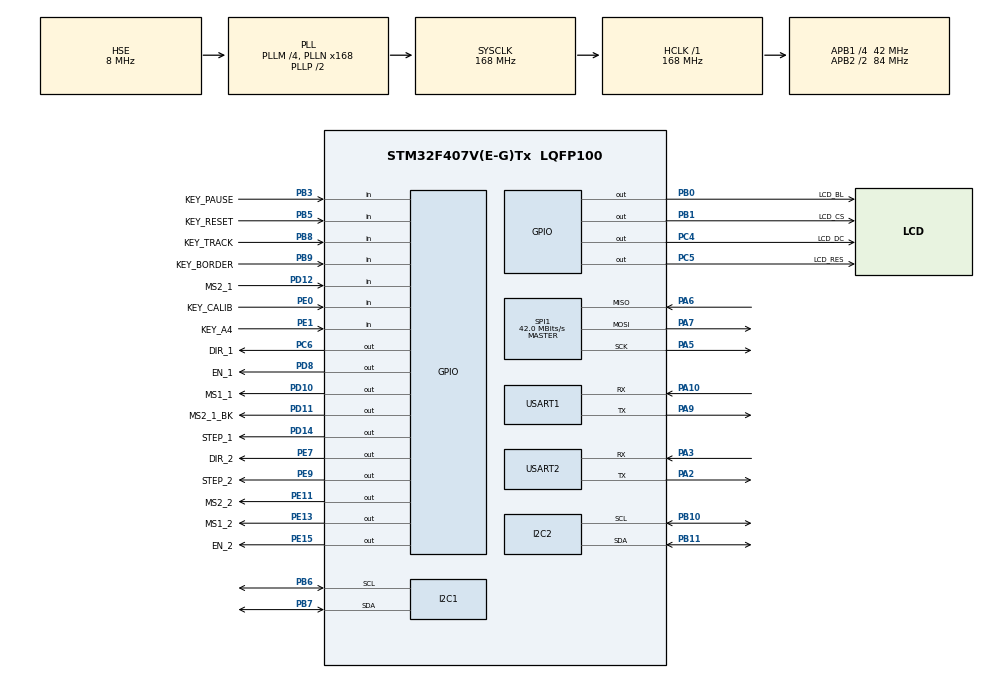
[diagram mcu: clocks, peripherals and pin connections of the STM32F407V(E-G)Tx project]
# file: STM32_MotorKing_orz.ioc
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Dma.Request0=USART1_RX
Dma.Request1=USART1_TX
Dma.Request2=USART2_RX
Dma.Request3=USART2_TX
Dma.USART1_RX.0.Direction=DMA_PERIPH_TO_MEMORY
Dma.USART1_RX.0.FIFOMode=DMA_FIFOMODE_DISABLE
Dma.USART1_RX.0.Instance=DMA2_Stream2
Dma.USART1_RX.0.MemDataAlignment=DMA_MDATAALIGN_BYTE
Dma.USART1_RX.0.MemInc=DMA_MINC_ENABLE
Dma.USART1_RX.0.Mode=DMA_CIRCULAR
Dma.USART1_RX.0.PeriphDataAlignment=DMA_PDATAALIGN_BYTE
Dma.USART1_RX.0.PeriphInc=DMA_PINC_DISABLE
Dma.USART1_RX.0.Priority=DMA_PRIORITY_LOW
Dma.USART1_TX.1.Direction=DMA_MEMORY_TO_PERIPH
Dma.USART1_TX.1.FIFOMode=DMA_FIFOMODE_DISABLE
Dma.USART1_TX.1.Instance=DMA2_Stream7
Dma.USART1_TX.1.MemDataAlignment=DMA_MDATAALIGN_BYTE
Dma.USART1_TX.1.MemInc=DMA_MINC_ENABLE
Dma.USART1_TX.1.Mode=DMA_NORMAL
Dma.USART1_TX.1.PeriphDataAlignment=DMA_PDATAALIGN_BYTE
Dma.USART1_TX.1.PeriphInc=DMA_PINC_DISABLE
Dma.USART1_TX.1.Priority=DMA_PRIORITY_LOW
Dma.USART2_RX.2.Direction=DMA_PERIPH_TO_MEMORY
Dma.USART2_RX.2.FIFOMode=DMA_FIFOMODE_DISABLE
Dma.USART2_RX.2.Instance=DMA1_Stream5
Dma.USART2_RX.2.MemDataAlignment=DMA_MDATAALIGN_BYTE
Dma.USART2_RX.2.MemInc=DMA_MINC_ENABLE
Dma.USART2_RX.2.Mode=DMA_CIRCULAR
Dma.USART2_RX.2.PeriphDataAlignment=DMA_PDATAALIGN_BYTE
Dma.USART2_RX.2.PeriphInc=DMA_PINC_DISABLE
Dma.USART2_RX.2.Priority=DMA_PRIORITY_LOW
Dma.USART2_TX.3.Direction=DMA_MEMORY_TO_PERIPH
Dma.USART2_TX.3.FIFOMode=DMA_FIFOMODE_DISABLE
Dma.USART2_TX.3.Instance=DMA1_Stream6
Dma.USART2_TX.3.MemDataAlignment=DMA_MDATAALIGN_BYTE
Dma.USART2_TX.3.MemInc=DMA_MINC_ENABLE
Dma.USART2_TX.3.Mode=DMA_NORMAL
Dma.USART2_TX.3.PeriphDataAlignment=DMA_PDATAALIGN_BYTE
Dma.USART2_TX.3.PeriphInc=DMA_PINC_DISABLE
Dma.USART2_TX.3.Priority=DMA_PRIORITY_LOW
I2C1.I2C_Mode=I2C_Fast
I2C2.I2C_Mode=I2C_Fast
Mcu.Family=STM32F4
Mcu.Name=STM32F407V(E-G)Tx
Mcu.Package=LQFP100
NVIC.DMA1_Stream5_IRQn=true\:0\:0\:false\:false\:true\:false\:true\:true
NVIC.DMA1_Stream6_IRQn=true\:0\:0\:false\:false\:true\:false\:true\:true
NVIC.DMA2_Stream2_IRQn=true\:0\:0\:false\:false\:true\:false\:true\:true
NVIC.DMA2_Stream7_IRQn=true\:0\:0\:false\:false\:true\:false\:true\:true
NVIC.I2C1_ER_IRQn=true\:0\:0\:false\:false\:true\:true\:true\:true
NVIC.I2C1_EV_IRQn=true\:0\:0\:false\:false\:true\:true\:true\:true
NVIC.I2C2_ER_IRQn=true\:0\:0\:false\:false\:true\:true\:true\:true
NVIC.I2C2_EV_IRQn=true\:0\:0\:false\:false\:true\:true\:true\:true
NVIC.PriorityGroup=NVIC_PRIORITYGROUP_4
NVIC.TIM8_TRG_COM_TIM14_IRQn=true\:0\:0\:false\:false\:true\:true\:true\:true
NVIC.TIM8_UP_TIM13_IRQn=true\:0\:0\:false\:false\:true\:true\:true\:true
NVIC.USART1_IRQn=true\:0\:0\:false\:false\:true\:true\:true\:true
NVIC.USART2_IRQn=true\:0\:0\:false\:false\:true\:false\:true\:true
PA10.Mode=Asynchronous
PA10.Signal=USART1_RX
PA13.Mode=Serial_Wire
PA13.Signal=SYS_JTMS-SWDIO
PA14.Mode=Serial_Wire
PA14.Signal=SYS_JTCK-SWCLK
PA2.Mode=Asynchronous
PA2.Signal=USART2_TX
PA3.Mode=Asynchronous
PA3.Signal=USART2_RX
PA5.Mode=Full_Duplex_Master
PA5.Signal=SPI1_SCK
PA6.Mode=Full_Duplex_Master
PA6.Signal=SPI1_MISO
PA7.Mode=Full_Duplex_Master
PA7.Signal=SPI1_MOSI
PA9.Mode=Asynchronous
PA9.Signal=USART1_TX
PB0.GPIO_Label=LCD_BL
PB0.Signal=GPIO_Output
PB1.GPIO_Label=LCD_CS
PB1.Signal=GPIO_Output
PB10.Mode=I2C
PB10.Signal=I2C2_SCL
PB11.Mode=I2C
PB11.Signal=I2C2_SDA
PB3.GPIO_Label=KEY_PAUSE
PB3.GPIO_PuPd=GPIO_PULLUP
PB3.Signal=GPIO_Input
PB5.GPIO_Label=KEY_RESET
PB5.GPIO_PuPd=GPIO_PULLUP
PB5.Signal=GPIO_Input
PB6.Mode=I2C
PB6.Signal=I2C1_SCL
PB7.Mode=I2C
PB7.Signal=I2C1_SDA
PB8.GPIO_Label=KEY_TRACK
PB8.GPIO_PuPd=GPIO_PULLUP
PB8.Signal=GPIO_Input
PB9.GPIO_Label=KEY_BORDER
PB9.GPIO_PuPd=GPIO_PULLUP
PB9.Signal=GPIO_Input
PC4.GPIO_Label=LCD_DC
PC4.Signal=GPIO_Output
PC5.GPIO_Label=LCD_RES
PC5.Signal=GPIO_Output
PC6.GPIO_Label=DIR_1
PC6.Signal=GPIO_Output
PD10.GPIO_Label=MS1_1
PD10.Signal=GPIO_Output
PD11.GPIO_Label=MS2_1_BK
PD11.Signal=GPIO_Output
PD12.GPIO_Label=MS2_1
PD12.GPIO_PuPd=GPIO_PULLDOWN
PD12.Signal=GPIO_Input
PD14.GPIO_Label=STEP_1
PD14.Signal=GPIO_Output
PD8.GPIO_Label=EN_1
PD8.Signal=GPIO_Output
PE0.GPIO_Label=KEY_CALIB
PE0.GPIO_PuPd=GPIO_PULLUP
PE0.Signal=GPIO_Input
PE1.GPIO_Label=KEY_A4
PE1.GPIO_PuPd=GPIO_PULLUP
PE1.Signal=GPIO_Input
PE11.GPIO_Label=MS2_2
PE11.Signal=GPIO_Output
PE13.GPIO_Label=MS1_2
PE13.Signal=GPIO_Output
PE15.GPIO_Label=EN_2
PE15.Signal=GPIO_Output
PE7.GPIO_Label=DIR_2
PE7.Signal=GPIO_Output
PE9.GPIO_Label=STEP_2
PE9.Signal=GPIO_Output
PH0-OSC_IN.Mode=HSE-External-Oscillator
PH0-OSC_IN.Signal=RCC_OSC_IN
PH1-OSC_OUT.Mode=HSE-External-Oscillator
PH1-OSC_OUT.Signal=RCC_OSC_OUT
ProjectManager.HeapSize=0x200
ProjectManager.StackSize=0x400
ProjectManager.TargetToolchain=CMake
RCC.48MHZClocksFreq_Value=84000000
RCC.AHBFreq_Value=168000000
RCC.APB1CLKDivider=RCC_HCLK_DIV4
RCC.APB1Freq_Value=42000000
RCC.APB1TimFreq_Value=84000000
RCC.APB2CLKDivider=RCC_HCLK_DIV2
RCC.APB2Freq_Value=84000000
RCC.APB2TimFreq_Value=168000000
RCC.CortexFreq_Value=168000000
RCC.HCLKFreq_Value=168000000
RCC.HSE_VALUE=8000000
RCC.HSI_VALUE=16000000
RCC.LSE_VALUE=32768
RCC.PLLM=4
RCC.PLLN=168
RCC.PLLSourceVirtual=RCC_PLLSOURCE_HSE
RCC.SYSCLKFreq_VALUE=168000000
RCC.SYSCLKSource=RCC_SYSCLKSOURCE_PLLCLK
RCC.VCOOutputFreq_Value=336000000
SPI1.CalculateBaudRate=42.0 MBits/s
SPI1.Direction=SPI_DIRECTION_2LINES
SPI1.Mode=SPI_MODE_MASTER
SPI1.VirtualType=VM_MASTER
TIM13.Channel=TIM_CHANNEL_1
TIM14.Channel=TIM_CHANNEL_1
USART1.VirtualMode=VM_ASYNC
USART2.VirtualMode=VM_ASYNC
VP_TIM13_VS_ClockSourceINT.Mode=Enable_Timer
VP_TIM13_VS_no_output1.Mode=Output Compare1 No Output
VP_TIM14_VS_ClockSourceINT.Mode=Enable_Timer
VP_TIM14_VS_no_output1.Mode=Output Compare1 No Output
board=custom

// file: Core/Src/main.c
/* USER CODE BEGIN Header */
/**
  ******************************************************************************
  * @file           : main.c
  * @brief          : Main program body
  ******************************************************************************
  * @attention
  *
  * Copyright (c) 2026 STMicroelectronics.
  * All rights reserved.
  *
  * This software is licensed under terms that can be found in the LICENSE file
  * in the root directory of this software component.
  * If no LICENSE file comes with this software, it is provided AS-IS.
  *
  ******************************************************************************
  */
/* USER CODE END Header */
#include "main.h"

/* USER CODE BEGIN Includes */
#include "usart.h"
#include "mt6701.h"
#include "tmc2209.h"
#include "motor_pid.h"
#include "motor_stepper.h"
#include "uart.h"
#include "axis.h"
#include "safety.h"
#include "motion.h"
#include "target_source.h"
#include "gimbal_points.h"
#include "calib.h"
#include "q12.h"
#include "pause.h"
#include "app_boot_interface.h"
#include <string.h>
#include <stdio.h>
/* Phase 4-8 (暂时注释, 后续按流水线解锁):
#include "communication.h"
#include "tracking_manager.h"
#include "app.h"
#include "telemetry.h"
*/
/* USER CODE END Includes */

I2C_HandleTypeDef hi2c1;
I2C_HandleTypeDef hi2c2;

SPI_HandleTypeDef hspi1;

TIM_HandleTypeDef htim13;
TIM_HandleTypeDef htim14;

UART_HandleTypeDef huart1;
UART_HandleTypeDef huart2;
DMA_HandleTypeDef hdma_usart1_rx;
DMA_HandleTypeDef hdma_usart1_tx;
DMA_HandleTypeDef hdma_usart2_rx;
DMA_HandleTypeDef hdma_usart2_tx;

/* USER CODE BEGIN PV */

/* 电机1 = Tilt (竖直轴, TIM14 + I2C1 + EN_1/DIR_1/STEP_1/MS1_1/MS2_1) */
static MT6701_HandleTypeDef enc_tilt;
static TMC2209_HandleTypeDef motor_tilt;
MotorStepper stepper_tilt;      /* 全局: stm32f4xx_it.c 中断分发需要 */
static MotorPID pid_tilt;

/* 电机2 = Pan (水平轴, TIM13 + I2C2 + EN_2/DIR_2/STEP_2/MS1_2/MS2_2) */
static MT6701_HandleTypeDef enc_pan;
static TMC2209_HandleTypeDef motor_pan;
MotorStepper stepper_pan;       /* 全局: stm32f4xx_it.c 中断分发需要 */
static MotorPID pid_pan;

/* 串口库设备: USART1 调试口, USART2 摄像头 */
static UART_Device uart_dbg, uart_cam;

/* 单轴抽象: 统一封装 PID/驱动/编码器/步进引擎 (Pan/Tilt 共用同一结构) */
static Axis axis_tilt;
static Axis axis_pan;

/* 安全管理器 */
static SafetyConfig safety_cfg;

/* 运动管理器 */
static MotionConfig motion_cfg;

/* 标定流程 (KEY_CALIB) */
static CalibConfig calib_cfg;

/* Q1/Q2 序列 (KEY_RESET / KEY_BORDER) */
static Q12Config q12_cfg;

/* 暂停/继续 (KEY_PAUSE) */
static PauseConfig pause_cfg;

/* Phase 4-8 (暂时注释):
static TrackingConfig tracking_cfg;
static AppConfig app_cfg;
static uint32_t telemetry_tick;
*/

/* 调试命令 (Phase 3 验收驱动): go <pan> <tilt> / stop / swing <amp> */
static UART_Frame  dbg_cmd_frame;
static uint8_t     dbg_cmd_buf[32];
static uint16_t    dbg_cmd_len;
static char        dbg_last_cmd[33];   /* 诊断: 最近完整命令 */

/* 摆动测试状态: 以启动时的位置为原点, 小幅摆动 ±amp 度 (仅 Tilt) */
static uint8_t  swing_active;
static float    swing_amp;
static float    swing_tilt_origin;
static int      swing_dir;         /* +1 / -1 */
static uint32_t swing_next_ms;
static uint32_t swing_period_ms;   /* 每个方向停留时间 */

/* 开环走圈测试状态 (spin): MoveSteps 走 1 圈, 周期采样编码器角度, 验证回正 */
static uint8_t  spin_active;
static float    spin_start_angle;
static float    spin_last_angle;
static uint32_t spin_t0;
static uint32_t spin_sample_next;

/* USER CODE END PV */

void SystemClock_Config(void);
static void MX_GPIO_Init(void);
static void MX_DMA_Init(void);
static void MX_I2C1_Init(void);
static void MX_USART1_UART_Init(void);
static void MX_USART2_UART_Init(void);
static void MX_I2C2_Init(void);
static void MX_SPI1_Init(void);
static void MX_TIM13_Init(void);
static void MX_TIM14_Init(void);
/* USER CODE BEGIN PFP */
static void DbgCmd_OnByte(UART_Device *dev, uint8_t *data, uint16_t len);
static void DbgCmd_SwingUpdate(uint32_t now_ms);
static void DbgCmd_SpinUpdate(uint32_t now_ms);
static float DbgCmd_ParseFloat(const char *s, char **end);
static const char *DbgCmd_Token(const char *s, int idx);
static MotorPID *DbgCmd_Axis(const char *s);
/* USER CODE END PFP */

/* USER CODE BEGIN 0 */

/* TIM 中断处理由 stm32f4xx_it.c 生成区接管 (CubeMX 已勾选 NVIC):
   TIM14 → stepper_tilt, TIM13 → stepper_pan, 分发见 stm32f4xx_it.c USER CODE 区 */

/* USER CODE END 0 */

int main(void)
{

  /* USER CODE BEGIN 1 */
  SCB->VTOR = 0x08000000U;   /* 直烧模式: 向量表在 Flash 头部 (无 BL) */
  /* USER CODE END 1 */

  /* MCU Configuration--------------------------------------------------------*/

  /* Reset of all peripherals, Initializes the Flash interface and the Systick. */
  HAL_Init();

  /* Configure the system clock */
  SystemClock_Config();

  /* Initialize all configured peripherals */
  MX_GPIO_Init();
  MX_DMA_Init();
  MX_I2C1_Init();
  MX_USART1_UART_Init();
  MX_USART2_UART_Init();
  MX_I2C2_Init();
  MX_SPI1_Init();
  MX_TIM13_Init();
  MX_TIM14_Init();
  /* USER CODE BEGIN 2 */

  /* MT6701 编码器 (I2C1/I2C2, 400kHz) */
  if (MT6701_Init(&enc_tilt, &hi2c1) != 0) {
    /* 电机1 编码器未应答 */
  }
  if (MT6701_Init(&enc_pan, &hi2c2) != 0) {
    /* 电机2 编码器未应答 */
  }

  /* TMC2209 驱动板 (GPIO 由 MX_GPIO_Init 配置) */
  TMC2209_Init(&motor_tilt, &(TMC2209_PinConfig){
      .en   = {EN_1_GPIO_Port,   EN_1_Pin},
      .step = {STEP_1_GPIO_Port, STEP_1_Pin},
      .dir  = {DIR_1_GPIO_Port,  DIR_1_Pin},
      .ms1  = {MS1_1_GPIO_Port,  MS1_1_Pin},
      .ms2  = {MS2_1_GPIO_Port,  MS2_1_Pin},
  });
  TMC2209_Init(&motor_pan, &(TMC2209_PinConfig){
      .en   = {EN_2_GPIO_Port,   EN_2_Pin},
      .step = {STEP_2_GPIO_Port, STEP_2_Pin},
      .dir  = {DIR_2_GPIO_Port,  DIR_2_Pin},
      .ms1  = {MS1_2_GPIO_Port,  MS1_2_Pin},
      .ms2  = {MS2_2_GPIO_Port,  MS2_2_Pin},
  });

  /* STEP 脉冲引擎: Tilt→TIM14, Pan→TIM13 */
  MotorStepper_Init(&stepper_tilt, &motor_tilt, &htim14);
  MotorStepper_Init(&stepper_pan,  &motor_pan,  &htim13);

  /* 位置闭环 PID (默认 1/32 细分标定) */
  MotorPID_Init(&pid_tilt);
  MotorPID_Init(&pid_pan);
  /* Pan(X) 实测整定: gains 350/30/0, 限速 7200/36000 (~405°/s) */
  MotorPID_SetGains(&pid_pan, 350.0f, 30.0f, 0.0f);
  MotorPID_SetSpeedLimit(&pid_pan, 7200.0f, 36000.0f);

  /* 串口库: USART1 调试口 + USART2 摄像头 (RX DMA 需为 Circular) */
  UART_Init(&uart_dbg, &huart1);
  UART_Init(&uart_cam, &huart2);
  UART_Open(&uart_dbg);
  UART_Open(&uart_cam);

  /* 通信管理器: 摄像头视觉帧解析 → VisionTarget (Phase 4, 暂时注释)
  Communication_Init(&uart_cam); */

  /* 单轴抽象: 包装 编码器 + PID + 步进引擎 + 驱动 (双轴使能, 内环闭环经 Axis 编排,
     方向符号统一由 Axis 层 dir_sign 补偿) */
  Axis_Init(&axis_tilt, &pid_tilt, &motor_tilt, &enc_tilt, &stepper_tilt);
  Axis_Init(&axis_pan,  &pid_pan,  &motor_pan,  &enc_pan,  &stepper_pan);

  /* 启动时目标 = 当前位置 (避免 PID 全速追默认 0° 导致乱转) */
  Axis_SetTarget(&axis_tilt, MT6701_ReadDegrees(&enc_tilt));
  Axis_SetTarget(&axis_pan,  MT6701_ReadDegrees(&enc_pan));

  /* 限位: 编码器绝对角度 0-360°, 先用全范围避免误触发 (物理行程限位后按机械标定) */
  Axis_SetLimits(&axis_tilt, 0.0f, 360.0f);
  Axis_SetLimits(&axis_pan,  0.0f, 360.0f);

  Axis_Enable(&axis_tilt);
  Axis_Enable(&axis_pan);

  /* 使能双轴 PID, 目标 = 当前位置 (Axis_Update 首帧也会兜底使能) */
  MotorPID_SetTarget(&pid_tilt, MT6701_ReadDegrees(&enc_tilt));
  MotorPID_SetTarget(&pid_pan,  MT6701_ReadDegrees(&enc_pan));

  /* 安全: 绑定轴 (按键暂停改由 Pause 模块处理: 制动+恢复) */
  safety_cfg.pan = &axis_pan;
  safety_cfg.tilt = &axis_tilt;
  safety_cfg.enable_key_pause = false;
  Safety_Init(&safety_cfg);

  /* 运动: 绑定 Pan/Tilt 轴 + 角度限位 (编码器坐标 0-360, 物理行程标定后收紧) */
  motion_cfg.pan = &axis_pan;
  motion_cfg.tilt = &axis_tilt;
  motion_cfg.pan_min  = 0.0f;
  motion_cfg.pan_max  = 360.0f;
  motion_cfg.tilt_min = 0.0f;
  motion_cfg.tilt_max = 360.0f;
  Motion_Init(&motion_cfg);

  /* 数据源注册 (仅注册, 不激活):
     direct = Q1/Q2 电机角度直接闭环; vision = Q3 视觉外环
     (vision 只有激活时才注册摄像头帧, 故此处 USART2 保持空闲) */
  TargetSource_VisionBind(&uart_cam);
  TargetSource_Init();

  /* Q1/Q2 标定点 (O/左上/右上/右下/左下), 初值清零 */
  GimbalPoints_Init();

  /* 标定流程: 绑定两轴 + 编码器 (按 CALIB 先释放电机, 手动摆点逐点记录) */
  calib_cfg.pan      = &axis_pan;
  calib_cfg.tilt     = &axis_tilt;
  calib_cfg.enc_pan  = &enc_pan;
  calib_cfg.enc_tilt = &enc_tilt;
  calib_cfg.uart     = &uart_dbg;
  Calib_Init(&calib_cfg);

  /* Q1/Q2 序列: RST 回 O, BORDER 左上起顺时针一圈回 O */
  q12_cfg.pan              = &axis_pan;
  q12_cfg.tilt             = &axis_tilt;
  q12_cfg.uart             = &uart_dbg;
  q12_cfg.settle_ms        = 150u;    /* 到位后稳定 150ms 再推进 */
  q12_cfg.point_timeout_ms = 6000u;   /* 单点超时 (顺时针一圈 30s 内) */
  Q12_Init(&q12_cfg);

  /* 暂停/继续: KEY_PAUSE 立即制动, 再按恢复 */
  pause_cfg.uart = &uart_dbg;
  Pause_Init(&pause_cfg);

  /* 调试命令 (Phase 3 验收): go <pan> <tilt> / stop / swing <amp> */
  dbg_cmd_frame.header_len = 0;              /* 逐字节回调 */
  dbg_cmd_frame.max_len    = sizeof(dbg_cmd_buf);
  dbg_cmd_frame.get_length = NULL;
  dbg_cmd_frame.check      = NULL;
  dbg_cmd_frame.callback   = DbgCmd_OnByte;
  dbg_cmd_frame.timeout_ms = 0;
  dbg_cmd_len = 0;
  UART_RegisterFrame(&uart_dbg, &dbg_cmd_frame);

  /* 摆动测试初始关闭 */
  swing_active     = 0;
  swing_amp        = 5.0f;                   /* 默认 ±5° */
  swing_tilt_origin = 0.0f;
  swing_dir        = 1;
  swing_next_ms    = 0;
  swing_period_ms  = 1000;                   /* 每方向 1s */

  /* 开环走圈测试初始关闭 */
  spin_active      = 0;
  spin_start_angle = 0.0f;
  spin_last_angle  = 0.0f;
  spin_t0          = 0;
  spin_sample_next = 0;

  /* 上电自检标志: 验证 App 是否正常启动 (诊断用) */
  {
      static const uint8_t ready[] = "APP-READY\r\n";
      uint16_t w = 0;
      UART_Send(&uart_dbg, ready, sizeof(ready) - 1, &w);
  }

  /* USER CODE END 2 */

  /* Infinite loop */
  /* USER CODE BEGIN WHILE */
  while (1)
  {
    /* 串口帧解析/回调 (必须周期调用) */
    UART_Task(&uart_dbg);

    /* Phase 4-8 (暂时注释):
    Communication_Update(HAL_GetTick());
    {
        VisionTarget vt;
        if (Communication_PopVisionTarget(&vt)) {
            Tracking_SetVisionTarget(&vt);
        }
    }
    Tracking_Update(HAL_GetTick());
    App_Update(HAL_GetTick());
    {
        uint32_t now = HAL_GetTick();
        if ((now - telemetry_tick) >= 20) {
            telemetry_tick = now;
            Telemetry_Sample(now);
        }
    }
    */

    /* ── 位置闭环 5ms: 编码器 → MotorPID → MotorStepper (统一经 Axis 编排) ── */
    DbgCmd_SwingUpdate(HAL_GetTick());   /* 摆动目标经 Axis_SetTarget (Tilt 单轴) */
    DbgCmd_SpinUpdate(HAL_GetTick());    /* 开环走圈 (与 PID 互斥, 由命令控制) */

    /* spin 开环走圈期间暂停 Axis, 避免 MoveSteps 与 SetVelocity 冲突;
       Axis_Update 内部: 读编码器(含 0xFFFF 哨兵/磁检) → 限位 → MotorPID → 方向符号 → 步进 */
    if (!spin_active) {
        Axis_Update(&axis_tilt, 0.005f);
        Axis_Update(&axis_pan,  0.005f);
    } else {
        MT6701_ReadDegrees(&enc_tilt);   /* spin 期间 I2C 只读 */
    }

    /* KEY_CALIB 标定: 第1按释放电机, 之后逐点记录 O→左上→右上→右下→左下 */
    Calib_Update(HAL_GetTick());

    /* 暂停/继续 (KEY_PAUSE): 先于 Q12 处理, 立即制动 */
    Pause_Update(HAL_GetTick());

    /* Q1/Q2 序列: KEY_RESET 回 O / KEY_BORDER 顺时针绕边一圈 */
    Q12_Update(HAL_GetTick());

    /* 安全监控: 按键/轴故障/限位 (故障时阻止运动) */
    Safety_Update(HAL_GetTick());

    /* USER CODE END WHILE */

  }
}

void SystemClock_Config(void)
{
  RCC_OscInitTypeDef RCC_OscInitStruct = {0};
  RCC_ClkInitTypeDef RCC_ClkInitStruct = {0};

  /** Configure the main internal regulator output voltage
  */
  __HAL_RCC_PWR_CLK_ENABLE();
  __HAL_PWR_VOLTAGESCALING_CONFIG(PWR_REGULATOR_VOLTAGE_SCALE1);

  /** Initializes the RCC Oscillators according to the specified parameters
  * in the RCC_OscInitTypeDef structure.
  */
  RCC_OscInitStruct.OscillatorType = RCC_OSCILLATORTYPE_HSE;
  RCC_OscInitStruct.HSEState = RCC_HSE_ON;
  RCC_OscInitStruct.PLL.PLLState = RCC_PLL_ON;
  RCC_OscInitStruct.PLL.PLLSource = RCC_PLLSOURCE_HSE;
  RCC_OscInitStruct.PLL.PLLM = 4;
  RCC_OscInitStruct.PLL.PLLN = 168;
  RCC_OscInitStruct.PLL.PLLP = RCC_PLLP_DIV2;
  RCC_OscInitStruct.PLL.PLLQ = 4;
  if (HAL_RCC_OscConfig(&RCC_OscInitStruct) != HAL_OK)
  {
    Error_Handler();
  }

  /** Initializes the CPU, AHB and APB buses clocks
  */
  RCC_ClkInitStruct.ClockType = RCC_CLOCKTYPE_HCLK|RCC_CLOCKTYPE_SYSCLK
                              |RCC_CLOCKTYPE_PCLK1|RCC_CLOCKTYPE_PCLK2;
  RCC_ClkInitStruct.SYSCLKSource = RCC_SYSCLKSOURCE_PLLCLK;
  RCC_ClkInitStruct.AHBCLKDivider = RCC_SYSCLK_DIV1;
  RCC_ClkInitStruct.APB1CLKDivider = RCC_HCLK_DIV4;
  RCC_ClkInitStruct.APB2CLKDivider = RCC_HCLK_DIV2;

  if (HAL_RCC_ClockConfig(&RCC_ClkInitStruct, FLASH_LATENCY_5) != HAL_OK)
  {
    Error_Handler();
  }
}

static void MX_I2C1_Init(void)
{

  hi2c1.Instance = I2C1;
  hi2c1.Init.ClockSpeed = 400000;
  hi2c1.Init.DutyCycle = I2C_DUTYCYCLE_2;
  hi2c1.Init.OwnAddress1 = 0;
  hi2c1.Init.AddressingMode = I2C_ADDRESSINGMODE_7BIT;
  hi2c1.Init.DualAddressMode = I2C_DUALADDRESS_DISABLE;
  hi2c1.Init.OwnAddress2 = 0;
  hi2c1.Init.GeneralCallMode = I2C_GENERALCALL_DISABLE;
  hi2c1.Init.NoStretchMode = I2C_NOSTRETCH_DISABLE;
  if (HAL_I2C_Init(&hi2c1) != HAL_OK)
  {
    Error_Handler();
  }

}

static void MX_I2C2_Init(void)
{

  hi2c2.Instance = I2C2;
  hi2c2.Init.ClockSpeed = 400000;
  hi2c2.Init.DutyCycle = I2C_DUTYCYCLE_2;
  hi2c2.Init.OwnAddress1 = 0;
  hi2c2.Init.AddressingMode = I2C_ADDRESSINGMODE_7BIT;
  hi2c2.Init.DualAddressMode = I2C_DUALADDRESS_DISABLE;
  hi2c2.Init.OwnAddress2 = 0;
  hi2c2.Init.GeneralCallMode = I2C_GENERALCALL_DISABLE;
  hi2c2.Init.NoStretchMode = I2C_NOSTRETCH_DISABLE;
  if (HAL_I2C_Init(&hi2c2) != HAL_OK)
  {
    Error_Handler();
  }

}

static void MX_SPI1_Init(void)
{

  /* SPI1 parameter configuration*/
  hspi1.Instance = SPI1;
  hspi1.Init.Mode = SPI_MODE_MASTER;
  hspi1.Init.Direction = SPI_DIRECTION_2LINES;
  hspi1.Init.DataSize = SPI_DATASIZE_8BIT;
  hspi1.Init.CLKPolarity = SPI_POLARITY_LOW;
  hspi1.Init.CLKPhase = SPI_PHASE_1EDGE;
  hspi1.Init.NSS = SPI_NSS_SOFT;
  hspi1.Init.BaudRatePrescaler = SPI_BAUDRATEPRESCALER_2;
  hspi1.Init.FirstBit = SPI_FIRSTBIT_MSB;
  hspi1.Init.TIMode = SPI_TIMODE_DISABLE;
  hspi1.Init.CRCCalculation = SPI_CRCCALCULATION_DISABLE;
  hspi1.Init.CRCPolynomial = 10;
  if (HAL_SPI_Init(&hspi1) != HAL_OK)
  {
    Error_Handler();
  }

}

static void MX_TIM13_Init(void)
{

  TIM_OC_InitTypeDef sConfigOC = {0};

  htim13.Instance = TIM13;
  htim13.Init.Prescaler = 0;
  htim13.Init.CounterMode = TIM_COUNTERMODE_UP;
  htim13.Init.Period = 65535;
  htim13.Init.ClockDivision = TIM_CLOCKDIVISION_DIV1;
  htim13.Init.AutoReloadPreload = TIM_AUTORELOAD_PRELOAD_DISABLE;
  if (HAL_TIM_Base_Init(&htim13) != HAL_OK)
  {
    Error_Handler();
  }
  if (HAL_TIM_OC_Init(&htim13) != HAL_OK)
  {
    Error_Handler();
  }
  sConfigOC.OCMode = TIM_OCMODE_TIMING;
  sConfigOC.Pulse = 0;
  sConfigOC.OCPolarity = TIM_OCPOLARITY_HIGH;
  sConfigOC.OCFastMode = TIM_OCFAST_DISABLE;
  if (HAL_TIM_OC_ConfigChannel(&htim13, &sConfigOC, TIM_CHANNEL_1) != HAL_OK)
  {
    Error_Handler();
  }

}

static void MX_TIM14_Init(void)
{

  TIM_OC_InitTypeDef sConfigOC = {0};

  htim14.Instance = TIM14;
  htim14.Init.Prescaler = 0;
  htim14.Init.CounterMode = TIM_COUNTERMODE_UP;
  htim14.Init.Period = 65535;
  htim14.Init.ClockDivision = TIM_CLOCKDIVISION_DIV1;
  htim14.Init.AutoReloadPreload = TIM_AUTORELOAD_PRELOAD_DISABLE;
  if (HAL_TIM_Base_Init(&htim14) != HAL_OK)
  {
    Error_Handler();
  }
  if (HAL_TIM_OC_Init(&htim14) != HAL_OK)
  {
    Error_Handler();
  }
  sConfigOC.OCMode = TIM_OCMODE_TIMING;
  sConfigOC.Pulse = 0;
  sConfigOC.OCPolarity = TIM_OCPOLARITY_HIGH;
  sConfigOC.OCFastMode = TIM_OCFAST_DISABLE;
  if (HAL_TIM_OC_ConfigChannel(&htim14, &sConfigOC, TIM_CHANNEL_1) != HAL_OK)
  {
    Error_Handler();
  }

}

static void MX_USART1_UART_Init(void)
{

  huart1.Instance = USART1;
  huart1.Init.BaudRate = 115200;
  huart1.Init.WordLength = UART_WORDLENGTH_8B;
  huart1.Init.StopBits = UART_STOPBITS_1;
  huart1.Init.Parity = UART_PARITY_NONE;
  huart1.Init.Mode = UART_MODE_TX_RX;
  huart1.Init.HwFlowCtl = UART_HWCONTROL_NONE;
  huart1.Init.OverSampling = UART_OVERSAMPLING_16;
  if (HAL_UART_Init(&huart1) != HAL_OK)
  {
    Error_Handler();
  }

}

static void MX_USART2_UART_Init(void)
{

  huart2.Instance = USART2;
  huart2.Init.BaudRate = 115200;
  huart2.Init.WordLength = UART_WORDLENGTH_8B;
  huart2.Init.StopBits = UART_STOPBITS_1;
  huart2.Init.Parity = UART_PARITY_NONE;
  huart2.Init.Mode = UART_MODE_TX_RX;
  huart2.Init.HwFlowCtl = UART_HWCONTROL_NONE;
  huart2.Init.OverSampling = UART_OVERSAMPLING_16;
  if (HAL_UART_Init(&huart2) != HAL_OK)
  {
    Error_Handler();
  }

}

static void MX_DMA_Init(void)
{

  /* DMA controller clock enable */
  __HAL_RCC_DMA2_CLK_ENABLE();
  __HAL_RCC_DMA1_CLK_ENABLE();

  /* DMA interrupt init */
  /* DMA1_Stream5_IRQn interrupt configuration */
  HAL_NVIC_SetPriority(DMA1_Stream5_IRQn, 0, 0);
  HAL_NVIC_EnableIRQ(DMA1_Stream5_IRQn);
  /* DMA1_Stream6_IRQn interrupt configuration */
  HAL_NVIC_SetPriority(DMA1_Stream6_IRQn, 0, 0);
  HAL_NVIC_EnableIRQ(DMA1_Stream6_IRQn);
  /* DMA2_Stream2_IRQn interrupt configuration */
  HAL_NVIC_SetPriority(DMA2_Stream2_IRQn, 0, 0);
  HAL_NVIC_EnableIRQ(DMA2_Stream2_IRQn);
  /* DMA2_Stream7_IRQn interrupt configuration */
  HAL_NVIC_SetPriority(DMA2_Stream7_IRQn, 0, 0);
  HAL_NVIC_EnableIRQ(DMA2_Stream7_IRQn);

}

static void MX_GPIO_Init(void)
{
  GPIO_InitTypeDef GPIO_InitStruct = {0};

  /* GPIO Ports Clock Enable */
  __HAL_RCC_GPIOH_CLK_ENABLE();
  __HAL_RCC_GPIOA_CLK_ENABLE();
  __HAL_RCC_GPIOC_CLK_ENABLE();
  __HAL_RCC_GPIOB_CLK_ENABLE();
  __HAL_RCC_GPIOE_CLK_ENABLE();
  __HAL_RCC_GPIOD_CLK_ENABLE();

  /*Configure GPIO pin Output Level */
  HAL_GPIO_WritePin(GPIOC, LCD_DC_Pin|LCD_RES_Pin|DIR_1_Pin, GPIO_PIN_RESET);

  /*Configure GPIO pin Output Level */
  HAL_GPIO_WritePin(GPIOB, LCD_BL_Pin|LCD_CS_Pin, GPIO_PIN_RESET);

  /*Configure GPIO pin Output Level */
  HAL_GPIO_WritePin(GPIOE, DIR_2_Pin|STEP_2_Pin|MS2_2_Pin|MS1_2_Pin
                          |EN_2_Pin, GPIO_PIN_RESET);

  /*Configure GPIO pin Output Level */
  HAL_GPIO_WritePin(GPIOD, EN_1_Pin|MS1_1_Pin|MS2_1_BK_Pin|STEP_1_Pin, GPIO_PIN_RESET);

  /*Configure GPIO pins : LCD_DC_Pin LCD_RES_Pin DIR_1_Pin */
  GPIO_InitStruct.Pin = LCD_DC_Pin|LCD_RES_Pin|DIR_1_Pin;
  GPIO_InitStruct.Mode = GPIO_MODE_OUTPUT_PP;
  GPIO_InitStruct.Pull = GPIO_NOPULL;
  GPIO_InitStruct.Speed = GPIO_SPEED_FREQ_LOW;
  HAL_GPIO_Init(GPIOC, &GPIO_InitStruct);

  /*Configure GPIO pins : LCD_BL_Pin LCD_CS_Pin */
  GPIO_InitStruct.Pin = LCD_BL_Pin|LCD_CS_Pin;
  GPIO_InitStruct.Mode = GPIO_MODE_OUTPUT_PP;
  GPIO_InitStruct.Pull = GPIO_NOPULL;
  GPIO_InitStruct.Speed = GPIO_SPEED_FREQ_LOW;
  HAL_GPIO_Init(GPIOB, &GPIO_InitStruct);

  /*Configure GPIO pins : DIR_2_Pin STEP_2_Pin MS2_2_Pin MS1_2_Pin
                           EN_2_Pin */
  GPIO_InitStruct.Pin = DIR_2_Pin|STEP_2_Pin|MS2_2_Pin|MS1_2_Pin
                          |EN_2_Pin;
  GPIO_InitStruct.Mode = GPIO_MODE_OUTPUT_PP;
  GPIO_InitStruct.Pull = GPIO_NOPULL;
  GPIO_InitStruct.Speed = GPIO_SPEED_FREQ_LOW;
  HAL_GPIO_Init(GPIOE, &GPIO_InitStruct);

  /*Configure GPIO pins : EN_1_Pin MS1_1_Pin MS2_1_BK_Pin STEP_1_Pin */
  GPIO_InitStruct.Pin = EN_1_Pin|MS1_1_Pin|MS2_1_BK_Pin|STEP_1_Pin;
  GPIO_InitStruct.Mode = GPIO_MODE_OUTPUT_PP;
  GPIO_InitStruct.Pull = GPIO_NOPULL;
  GPIO_InitStruct.Speed = GPIO_SPEED_FREQ_LOW;
  HAL_GPIO_Init(GPIOD, &GPIO_InitStruct);

  /*Configure GPIO pin : MS2_1_Pin */
  GPIO_InitStruct.Pin = MS2_1_Pin;
  GPIO_InitStruct.Mode = GPIO_MODE_INPUT;
  GPIO_InitStruct.Pull = GPIO_PULLDOWN;
  HAL_GPIO_Init(MS2_1_GPIO_Port, &GPIO_InitStruct);

  /*Configure GPIO pins : KEY_PAUSE_Pin KEY_RESET_Pin KEY_TRACK_Pin KEY_BORDER_Pin */
  GPIO_InitStruct.Pin = KEY_PAUSE_Pin|KEY_RESET_Pin|KEY_TRACK_Pin|KEY_BORDER_Pin;
  GPIO_InitStruct.Mode = GPIO_MODE_INPUT;
  GPIO_InitStruct.Pull = GPIO_PULLUP;
  HAL_GPIO_Init(GPIOB, &GPIO_InitStruct);

  /*Configure GPIO pins : KEY_CALIB_Pin KEY_A4_Pin */
  GPIO_InitStruct.Pin = KEY_CALIB_Pin|KEY_A4_Pin;
  GPIO_InitStruct.Mode = GPIO_MODE_INPUT;
  GPIO_InitStruct.Pull = GPIO_PULLUP;
  HAL_GPIO_Init(GPIOE, &GPIO_InitStruct);

}

/* USER CODE BEGIN 4 */

/**
 * @brief 调试命令逐字节回调 (Phase 3 验收驱动)
 *
 * 命令格式 (USART1 调试口, 以 \r 或 \n 结尾):
 *   go <pan> <tilt> → 双轴裸 PID 运动到指定角度
 *   stop            → 停止双轴 (保持当前位置)
 *   swing <amp>     → 以当前位置为原点, Tilt 小幅摆动 ±amp 度
 *   swing stop      → 停止摆动, 回原点
 *   spin            → Tilt 开环走 1 圈 (验证回正)
 *   pid <kp> <ki> <kd> → 在线调整 Pan PID 增益
 *   boot            → 跳回 Bootloader (等主机烧录)
 *   pos             → 打印当前 Pan/Tilt 位置
 *   例: "go 200 30\r"  "swing 5\r"  "stop\r"  "boot\r"  "pos\r"
 */
static void DbgCmd_OnByte(UART_Device *dev, uint8_t *data, uint16_t len)
{
    float pan, tilt, amp;
    char cmd[33];
    char *endp;
    (void)dev;

    for (uint16_t i = 0; i < len; i++) {
        uint8_t b = data[i];
        if (b == '\r' || b == '\n') {
            if (dbg_cmd_len > 0) {
                dbg_cmd_buf[dbg_cmd_len] = '\0';
                cmd[0] = '\0';
                strncpy(dbg_last_cmd, (char *)dbg_cmd_buf, sizeof(dbg_last_cmd) - 1);
                dbg_last_cmd[sizeof(dbg_last_cmd) - 1] = '\0';
                if (sscanf((char *)dbg_cmd_buf, "%31s", cmd) == 1) {
                    if (strcmp(cmd, "go") == 0) {
                        /* 手动解析浮点, 双轴裸 PID */
                        endp = NULL;
                        pan  = DbgCmd_ParseFloat((char *)dbg_cmd_buf + 3, &endp);
                        if (endp) {
                            tilt = DbgCmd_ParseFloat(endp, &endp);
                            if (endp) {
                                swing_active = 0;              /* 手动目标覆盖摆动 */
                                Motion_SetTarget(pan, tilt);   /* 经 Motion 限幅 → Axis */
                                { uint8_t e[48]; int l = snprintf((char*)e, sizeof(e), "GO->PAN %.1f TILT %.1f\r\n", pan, tilt); uint16_t w; if (l>0) UART_Send(&uart_dbg,e,(uint16_t)l,&w); }
                            } else {
                                { uint8_t e[]="GO-TILT-FAIL\r\n"; uint16_t w; UART_Send(&uart_dbg,e,sizeof(e)-1,&w); }
                            }
                        } else {
                            { uint8_t e[]="GO-PAN-FAIL\r\n"; uint16_t w; UART_Send(&uart_dbg,e,sizeof(e)-1,&w); }
                        }
                    } else if (strcmp(cmd, "stop") == 0) {
                        swing_active = 0;
                        Motion_Stop();                 /* 目标=当前位置, Axis 保持不动 */
                    } else if (strcmp(cmd, "pid") == 0) {
                        /* 在线调整 Pan PID: pid <kp> <ki> <kd> (作用于 Pan 轴) */
                        {
                            float kp, ki, kd;
                            char *p = (char *)dbg_cmd_buf + 4;
                            kp = DbgCmd_ParseFloat(p, &endp);
                            if (endp) { ki = DbgCmd_ParseFloat(endp, &endp); }
                            if (endp) { kd = DbgCmd_ParseFloat(endp, &endp); }
                            if (endp && kp >= 0 && ki >= 0 && kd >= 0) {
                                MotorPID_SetGains(&pid_pan, kp, ki, kd);
                                { uint8_t e[48]; int l = snprintf((char*)e, sizeof(e),
                                      "PID-PAN kp=%.0f ki=%.0f kd=%.0f\r\n", kp, ki, kd);
                                  uint16_t w; if (l>0) UART_Send(&uart_dbg,e,(uint16_t)l,&w); }
                            } else {
                                { uint8_t e[]="PID-FMT: pid <kp> <ki> <kd>\r\n"; uint16_t w; UART_Send(&uart_dbg,e,sizeof(e)-1,&w); }
                            }
                        }
                    } else if (strcmp(cmd, "gains") == 0) {
                        /* gains <x|y> <kp> <ki> <kd>: 在线调增益 */
                        MotorPID *mp = DbgCmd_Axis(DbgCmd_Token((char *)dbg_cmd_buf, 1));
                        const char *p = DbgCmd_Token((char *)dbg_cmd_buf, 2);
                        float kp = 0, ki = 0, kd = 0;
                        endp = NULL;
                        if (mp && p) {
                            kp = DbgCmd_ParseFloat(p, &endp);
                            if (endp) ki = DbgCmd_ParseFloat(endp, &endp);
                            if (endp) kd = DbgCmd_ParseFloat(endp, &endp);
                        }
                        if (mp && endp && kp >= 0 && ki >= 0 && kd >= 0) {
                            MotorPID_SetGains(mp, kp, ki, kd);
                            { uint8_t e[48]; int l = snprintf((char*)e, sizeof(e), "GAINS kp=%.0f ki=%.0f kd=%.0f\r\n", kp, ki, kd); uint16_t w; if (l>0) UART_Send(&uart_dbg,e,(uint16_t)l,&w); }
                        } else {
                            { uint8_t e[]="GAINS-FMT: gains <x|y> <kp> <ki> <kd>\r\n"; uint16_t w; UART_Send(&uart_dbg,e,sizeof(e)-1,&w); }
                        }
                    } else if (strcmp(cmd, "limit") == 0) {
                        /* limit <x|y> <max_speed> <max_accel>: 在线调速度/加速度上限 */
                        MotorPID *mp = DbgCmd_Axis(DbgCmd_Token((char *)dbg_cmd_buf, 1));
                        const char *p = DbgCmd_Token((char *)dbg_cmd_buf, 2);
                        float v = 0, a = 0;
                        endp = NULL;
                        if (mp && p) {
                            v = DbgCmd_ParseFloat(p, &endp);
                            if (endp) a = DbgCmd_ParseFloat(endp, &endp);
                        }
                        if (mp && endp && v > 0 && a > 0) {
                            MotorPID_SetSpeedLimit(mp, v, a);
                            { uint8_t e[52]; int l = snprintf((char*)e, sizeof(e), "LIMIT v=%.0f a=%.0f\r\n", v, a); uint16_t w; if (l>0) UART_Send(&uart_dbg,e,(uint16_t)l,&w); }
                        } else {
                            { uint8_t e[]="LIMIT-FMT: limit <x|y> <max_speed> <max_accel>\r\n"; uint16_t w; UART_Send(&uart_dbg,e,sizeof(e)-1,&w); }
                        }
                    } else if (strcmp(cmd, "dead") == 0) {
                        /* dead <x|y> <enter> <exit> <comp_max> <stiction> */
                        MotorPID *mp = DbgCmd_Axis(DbgCmd_Token((char *)dbg_cmd_buf, 1));
                        const char *p = DbgCmd_Token((char *)dbg_cmd_buf, 2);
                        float en = 0, ex = 0, cm = 0, st = 0;
                        endp = NULL;
                        if (mp && p) {
                            en = DbgCmd_ParseFloat(p, &endp);
                            if (endp) ex = DbgCmd_ParseFloat(endp, &endp);
                            if (endp) cm = DbgCmd_ParseFloat(endp, &endp);
                            if (endp) st = DbgCmd_ParseFloat(endp, &endp);
                        }
                        if (mp && endp) {
                            MotorPID_SetDeadband(mp, en, ex, cm, st);
                            { uint8_t e[64]; int l = snprintf((char*)e, sizeof(e), "DEAD in=%.2f out=%.2f comp=%.2f stic=%.0f\r\n", en, ex, cm, st); uint16_t w; if (l>0) UART_Send(&uart_dbg,e,(uint16_t)l,&w); }
                        } else {
                            { uint8_t e[]="DEAD-FMT: dead <x|y> <enter> <exit> <comp_max> <stiction>\r\n"; uint16_t w; UART_Send(&uart_dbg,e,sizeof(e)-1,&w); }
                        }
                    } else if (strcmp(cmd, "lp") == 0) {
                        /* lp <x|y> <d_alpha>: D 项低通系数 (0~1) */
                        MotorPID *mp = DbgCmd_Axis(DbgCmd_Token((char *)dbg_cmd_buf, 1));
                        const char *p = DbgCmd_Token((char *)dbg_cmd_buf, 2);
                        float al = 0;
                        endp = NULL;
                        if (mp && p) al = DbgCmd_ParseFloat(p, &endp);
                        if (mp && endp) {
                            MotorPID_SetDFilter(mp, al);
                            { uint8_t e[40]; int l = snprintf((char*)e, sizeof(e), "LP alpha=%.2f\r\n", al); uint16_t w; if (l>0) UART_Send(&uart_dbg,e,(uint16_t)l,&w); }
                        } else {
                            { uint8_t e[]="LP-FMT: lp <x|y> <d_alpha>\r\n"; uint16_t w; UART_Send(&uart_dbg,e,sizeof(e)-1,&w); }
                        }
                    } else if (strcmp(cmd, "params") == 0) {
                        /* params <x|y>: 回读该轴全部可调参数 */
                        MotorPID *mp = DbgCmd_Axis(DbgCmd_Token((char *)dbg_cmd_buf, 1));
                        if (mp) {
                            uint8_t tmp[180];
                            int len = snprintf((char *)tmp, sizeof(tmp),
                                "kp=%.0f ki=%.0f kd=%.0f lp=%.2f | vmax=%.0f amax=%.0f\r\n"
                                "  dead in=%.2f out=%.2f comp=%.2f stic=%.0f\r\n",
                                mp->kp, mp->ki, mp->kd, mp->d_alpha, mp->max_speed, mp->max_accel,
                                mp->deadband_enter, mp->deadband_exit, mp->comp_max_err, mp->stiction_comp);
                            uint16_t w = 0;
                            if (len > 0) UART_Send(&uart_dbg, tmp, (uint16_t)len, &w);
                        } else {
                            { uint8_t e[]="PARAMS-FMT: params <x|y>\r\n"; uint16_t w; UART_Send(&uart_dbg,e,sizeof(e)-1,&w); }
                        }
                    } else if (strcmp(cmd, "swing") == 0) {
                        /* 手动解析 amp */
                        endp = NULL;
                        amp  = DbgCmd_ParseFloat((char *)dbg_cmd_buf + 6, &endp);
                        if (endp) {
                            /* 启动摆动: 以 Tilt 当前位置为原点 */
                            swing_active      = 1;
                            swing_amp         = (amp < 1.0f) ? 1.0f : amp;
                            swing_tilt_origin = MT6701_ReadDegrees(&enc_tilt);
                            swing_dir         = 1;
                            swing_next_ms     = HAL_GetTick() + swing_period_ms;
                            Axis_SetTarget(&axis_tilt,
                                           swing_tilt_origin + swing_dir * swing_amp);
                        } else {
                            swing_active = 0;          /* "swing stop" */
                            Axis_SetTarget(&axis_tilt, swing_tilt_origin);
                        }
                    } else if (strcmp(cmd, "spin") == 0) {
                        /* 开环走 1 整圈 (6400 步 @ 2000 steps/s ≈ 3.2s), I2C 周期采样验证回正 */
                        swing_active = 0;
                        spin_active      = 1;
                        spin_start_angle = MT6701_ReadDegrees(&enc_tilt);
                        spin_last_angle  = spin_start_angle;
                        spin_t0          = HAL_GetTick();
                        spin_sample_next = spin_t0;
                        MotorStepper_MoveSteps(&stepper_tilt,
                                               (uint32_t)STEPS_PER_REV, 2000.0f);
                        { uint8_t e[48]; int l = snprintf((char*)e, sizeof(e),
                              "SPIN-START a=%.1f steps=%u\r\n",
                              spin_start_angle, (unsigned)STEPS_PER_REV);
                          uint16_t w; if (l>0) UART_Send(&uart_dbg,e,(uint16_t)l,&w); }
                    } else if (strcmp(cmd, "boot") == 0) {
                        /* 跳回 Bootloader 等待主机烧录 */
                        APP_JumpToBootloader();
                    } else if (strcmp(cmd, "pos") == 0) {
                        /* 打印双轴当前位置 (裸 PID 模式) */
                        {
                            uint8_t tmp[80];
                            int len = snprintf((char *)tmp, sizeof(tmp),
                                               "PAN=%.2f (tgt=%.2f) TILT=%.2f (tgt=%.2f)\r\n",
                                               MT6701_ReadDegrees(&enc_pan), pid_pan.target,
                                               MT6701_ReadDegrees(&enc_tilt), pid_tilt.target);
                            uint16_t w = 0;
                            if (len > 0) UART_Send(&uart_dbg, tmp, (uint16_t)len, &w);
                        }
                    } else if (strcmp(cmd, "fault") == 0) {
                        /* 读取上次 HardFault 现场 (诊断) */
                        {
                            volatile uint32_t *f = (volatile uint32_t *)0x2001FF00u;
                            uint8_t tmp[96];
                            int len;
                            if (f[6] == 0xA5A5A5A5u) {
                                len = snprintf((char *)tmp, sizeof(tmp),
                                    "FAULT MSP=%08x PSP=%08x RET=%08x LR=%08x\r\n",
                                    (unsigned)f[2], (unsigned)f[3],
                                    (unsigned)f[4], (unsigned)f[5]);
                            } else {
                                len = snprintf((char *)tmp, sizeof(tmp),
                                    "FAULT none\r\n");
                            }
                            uint16_t w = 0;
                            if (len > 0) UART_Send(&uart_dbg, tmp, (uint16_t)len, &w);
                        }
                    } else if (strcmp(cmd, "echo") == 0) {
                        /* 回显最近收到的命令 (诊断) */
                        {
                            uint8_t tmp[48];
                            int len = snprintf((char *)tmp, sizeof(tmp),
                                               "LAST[%s]\r\n", dbg_last_cmd);
                            uint16_t w = 0;
                            if (len > 0) UART_Send(&uart_dbg, tmp, (uint16_t)len, &w);
                        }
                    } else if (strcmp(cmd, "stat") == 0) {
                        /* 打印双轴 PID 状态 (诊断) */
                        {
                            uint8_t tmp[160];
                            int len = snprintf((char *)tmp, sizeof(tmp),
                                               "P:tgt=%.1f cur=%.1f vr=%.0f st=%d | T:tgt=%.1f cur=%.1f vr=%.0f st=%d\r\n",
                                               pid_pan.target,
                                               pid_pan.current,
                                               pid_pan.vel_ref,
                                               (int)pid_pan.state,
                                               pid_tilt.target,
                                               pid_tilt.current,
                                               pid_tilt.vel_ref,
                                               (int)pid_tilt.state);
                            uint16_t w = 0;
                            if (len > 0) UART_Send(&uart_dbg, tmp, (uint16_t)len, &w);
                        }
                    } else if (strcmp(cmd, "pts") == 0) {
                        /* 打印 5 个标定点: O / 左上 / 右上 / 右下 / 左下 (*=已标定) */
                        {
                            const GimbalPoint *p = GimbalPoints_All();
                            uint8_t tmp[200];
                            int len = snprintf((char *)tmp, sizeof(tmp),
                                "O%s%.1f,%.1f LU%s%.1f,%.1f RU%s%.1f,%.1f RD%s%.1f,%.1f LD%s%.1f,%.1f\r\n",
                                p[GP_ORIGIN].valid ? "*" : "", p[GP_ORIGIN].pan_deg, p[GP_ORIGIN].tilt_deg,
                                p[GP_LEFT_UP].valid ? "*" : "", p[GP_LEFT_UP].pan_deg, p[GP_LEFT_UP].tilt_deg,
                                p[GP_RIGHT_UP].valid ? "*" : "", p[GP_RIGHT_UP].pan_deg, p[GP_RIGHT_UP].tilt_deg,
                                p[GP_RIGHT_DOWN].valid ? "*" : "", p[GP_RIGHT_DOWN].pan_deg, p[GP_RIGHT_DOWN].tilt_deg,
                                p[GP_LEFT_DOWN].valid ? "*" : "", p[GP_LEFT_DOWN].pan_deg, p[GP_LEFT_DOWN].tilt_deg);
                            uint16_t w = 0;
                            if (len > 0) UART_Send(&uart_dbg, tmp, (uint16_t)len, &w);
                        }
                    } else if (strcmp(cmd, "cal") == 0) {
                        /* cal <id>: 记录当前角度到标定点 (0=O 1=LU 2=RU 3=RD 4=LD) */
                        {
                            float id;
                            endp = NULL;
                            id = DbgCmd_ParseFloat((char *)dbg_cmd_buf + 3, &endp);
                            if (endp && id >= 0.0f && id < (float)GP_COUNT) {
                                GimbalPoints_Record((GimbalPointId)(int)id,
                                                    Axis_GetPosition(&axis_pan),
                                                    Axis_GetPosition(&axis_tilt));
                                { uint8_t e[40]; int l = snprintf((char*)e, sizeof(e), "CAL pt=%d\r\n", (int)id); uint16_t w; if (l>0) UART_Send(&uart_dbg,e,(uint16_t)l,&w); }
                            } else {
                                { uint8_t e[]="CAL-FMT: cal <0..4>\r\n"; uint16_t w; UART_Send(&uart_dbg,e,sizeof(e)-1,&w); }
                            }
                        }
                    } else if (strcmp(cmd, "goto") == 0) {
                        /* goto <id>: 运动到已标定点 (0=O 1=LU 2=RU 3=RD 4=LD) */
                        {
                            float id;
                            GimbalPoint gp;
                            endp = NULL;
                            id = DbgCmd_ParseFloat((char *)dbg_cmd_buf + 4, &endp);
                            if (endp && id >= 0.0f && id < (float)GP_COUNT &&
                                GimbalPoints_Get((GimbalPointId)(int)id, &gp) && gp.valid) {
                                swing_active = 0;
                                Motion_SetTarget(gp.pan_deg, gp.tilt_deg);
                                { uint8_t e[48]; int l = snprintf((char*)e, sizeof(e), "GOTO pt=%d ->%.1f,%.1f\r\n", (int)id, gp.pan_deg, gp.tilt_deg); uint16_t w; if (l>0) UART_Send(&uart_dbg,e,(uint16_t)l,&w); }
                            } else {
                                { uint8_t e[]="GOTO-FMT/INVALID: goto <0..4>\r\n"; uint16_t w; UART_Send(&uart_dbg,e,sizeof(e)-1,&w); }
                            }
                        }
                    }
                }
                dbg_cmd_len = 0;
            }
        } else if (dbg_cmd_len < sizeof(dbg_cmd_buf) - 1) {
            dbg_cmd_buf[dbg_cmd_len++] = b;
        }
    }
}

/**
 * @brief 手动浮点解析 (兼容 nano.specs, 不依赖 strtof/scanf %f)
 * @param s  起始指针 (跳过前导空白)
 * @param end 输出: 解析结束位置 (NULL = 无有效数字)
 * @return 解析值
 */
static float DbgCmd_ParseFloat(const char *s, char **end)
{
    float sign = 1.0f, ipart = 0.0f, fpart = 0.0f, fdiv = 1.0f;
    const char *p = s;
    int found = 0;

    while (*p == ' ' || *p == '\t') p++;
    if (*p == '-') { sign = -1.0f; p++; }
    else if (*p == '+') { p++; }

    while (*p >= '0' && *p <= '9') { ipart = ipart * 10.0f + (*p - '0'); p++; found = 1; }
    if (*p == '.') {
        p++;
        while (*p >= '0' && *p <= '9') { fdiv *= 10.0f; fpart = fpart * 10.0f + (*p - '0'); p++; found = 1; }
    }

    if (end) {
        *end = found ? (char *)p : NULL;
    }
    return sign * (ipart + fpart / fdiv);
}

/**
 * @brief 取命令中第 idx 个 (0-based) 空白分隔 token 的起始指针 (NULL=无)
 * @note  缓冲区须以 '\0' 结尾
 */
static const char *DbgCmd_Token(const char *s, int idx)
{
    int i;
    while (*s == ' ' || *s == '\t') s++;
    for (i = 0; i < idx; i++) {
        while (*s && *s != ' ' && *s != '\t') s++;
        while (*s == ' ' || *s == '\t') s++;
        if (*s == '\0') return NULL;
    }
    return (*s) ? s : NULL;
}

/**
 * @brief 轴选择: x/X/p/P → Pan, y/Y/t/T → Tilt, 其它 → NULL
 */
static MotorPID *DbgCmd_Axis(const char *s)
{
    char c;
    if (s == NULL) return NULL;
    c = s[0];
    if (c == 'x' || c == 'X' || c == 'p' || c == 'P') return &pid_pan;
    if (c == 'y' || c == 'Y' || c == 't' || c == 'T') return &pid_tilt;
    return NULL;
}

/**
 * @brief 摆动测试周期驱动 (主循环调用): 按周期切换方向
 *
 * 以启动时的位置为原点, Pan/Tilt 同幅摆动 ±swing_amp,
 * 用于验证: 双轴同步运动、限位、编码器反馈、I2C 总线自愈 (偶发故障下不丢步).
 */
static void DbgCmd_SwingUpdate(uint32_t now_ms)
{
    if (!swing_active) return;

    if ((now_ms - swing_next_ms) < 0x7FFFFFFFu &&
        now_ms >= swing_next_ms) {
        swing_dir = -swing_dir;
        swing_next_ms = now_ms + swing_period_ms;
        Axis_SetTarget(&axis_tilt,
                       swing_tilt_origin + swing_dir * swing_amp);
    }
}

/**
 * @brief 开环走圈测试状态机 (主循环调用)
 *
 * spin 命令触发 MoveSteps 走 1 圈 (6400 步 @ 2000 steps/s ≈ 3.2s),
 * 期间每 100ms 采样一次编码器角度上报, 走完后打印起始/结束角度差,
 * 用于验证: 电机机械转 1 圈 → 编码器读数回正 (回到起始角度).
 * I2C 只读, 不参与闭环.
 */
static void DbgCmd_SpinUpdate(uint32_t now_ms)
{
    uint8_t e[48];
    uint16_t w;
    int l;

    if (!spin_active) return;

    /* 周期采样上报 */
    if ((now_ms - spin_sample_next) >= 100u) {
        spin_sample_next = now_ms;
        spin_last_angle = MT6701_ReadDegrees(&enc_tilt);
        l = snprintf((char *)e, sizeof(e), "SPIN a=%.1f\r\n", spin_last_angle);
        if (l > 0) UART_Send(&uart_dbg, e, (uint16_t)l, &w);
    }

    /* 完成判定: 目标步数已清 (MoveSteps 到点自动停) 且启动超过 500ms */
    if (stepper_tilt.target_steps == 0 &&
        (now_ms - spin_t0) >= 500u) {
        spin_active = 0;
        spin_last_angle = MT6701_ReadDegrees(&enc_tilt);
        l = snprintf((char *)e, sizeof(e),
                     "SPIN-DONE start=%.1f end=%.1f\r\n",
                     spin_start_angle, spin_last_angle);
        if (l > 0) UART_Send(&uart_dbg, e, (uint16_t)l, &w);
    }
}

/* USER CODE END 4 */

void Error_Handler(void)
{
  __disable_irq();
  while (1)
  {
  }
}
